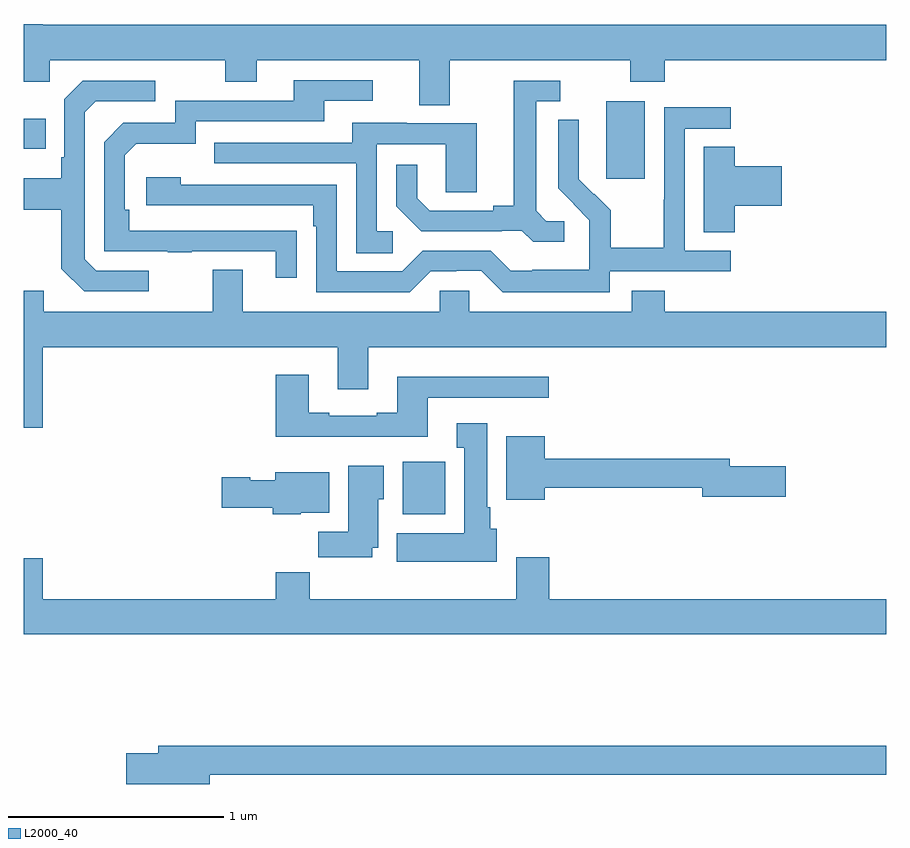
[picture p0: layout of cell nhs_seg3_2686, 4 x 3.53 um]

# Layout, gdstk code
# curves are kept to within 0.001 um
import gdstk
lib = gdstk.Library(unit=1e-6, precision=1e-09)
def R(c, l, rs):  # rectangles x0, y0, x1, y1
    for r in rs: c.add(gdstk.rectangle(r[:2], r[2:], *l))
def P(c, l, *ps):  # polygons
    for p in ps: c.add(gdstk.Polygon(p, *l))
L2000_40 = (2000, 40)

nhs_seg3_2686 = lib.new_cell('nhs_seg3_2686')
R(nhs_seg3_2686, L2000_40, [(250.757,716.126,250.954,716.368), (251.702,717.681,251.881,718.042), (249,717.821,249.101,717.961)])
P(nhs_seg3_2686, L2000_40, [(250.975,718.232),(251.812,718.232),(251.812,718.133),(251.972,718.133),(251.972,718.232),(253,718.232),(253,718.396),(249.088,718.396),(249.088,718.4),(249,718.4),(249,718.133),(249.12,718.133),(249.12,718.232),(249.934,718.232),(249.934,718.133),(250.081,718.133),(250.081,718.232),(250.835,718.232),(250.835,718.024),(250.975,718.024)],
  [(250.265,717.44),(249.488,717.441),(249.488,717.538),(249.468,717.538),(249.468,717.792),(249.521,717.845),(249.798,717.845),(249.798,717.948),(250.393,717.948),(250.393,718.044),(250.618,718.044),(250.618,718.14),(250.253,718.14),(250.253,718.044),(249.702,718.044),(249.702,717.942),(249.462,717.942),(249.372,717.852),(249.372,717.345),(249.667,717.345),(249.667,717.34),(249.779,717.34),(249.779,717.345),(250.169,717.345),(250.169,717.222),(250.265,717.222)],
  [(249.58,717.255),(249.336,717.255),(249.282,717.309),(249.282,717.99),(249.333,718.041),(249.61,718.041),(249.61,718.137),(249.273,718.137),(249.186,718.05),(249.186,717.781),(249.174,717.781),(249.174,717.685),(249,717.685),(249,717.538),(249.174,717.538),(249.174,717.265),(249.279,717.159),(249.58,717.159)],
  [(251.506,717.486),(251.424,717.486),(251.377,717.533),(251.377,718.041),(251.488,718.041),(251.488,718.137),(251.273,718.137),(251.273,717.557),(251.177,717.557),(251.177,717.534),(250.882,717.534),(250.825,717.591),(250.825,717.748),(250.728,717.748),(250.728,717.554),(250.844,717.438),(251.216,717.438),(251.216,717.441),(251.31,717.441),(251.362,717.389),(251.506,717.389)],
  [(251.718,717.252),(252.28,717.252),(252.28,717.348),(252.066,717.348),(252.066,717.915),(252.28,717.915),(252.28,718.014),(251.97,718.014),(251.97,717.584),(251.968,717.584),(251.968,717.361),(251.723,717.361),(251.723,717.535),(251.646,717.612),(251.643,717.609),(251.573,717.68),(251.574,717.956),(251.478,717.956),(251.478,717.638),(251.624,717.49),(251.624,717.393),(251.622,717.393),(251.622,717.259),(251.359,717.259),(251.359,717.255),(251.259,717.255),(251.166,717.348),(250.851,717.348),(250.755,717.252),(250.452,717.252),(250.452,717.654),(249.728,717.654),(249.728,717.688),(249.567,717.688),(249.567,717.558),(250.343,717.558),(250.343,717.461),(250.356,717.461),(250.356,717.156),(250.791,717.156),(250.887,717.252),(251.006,717.252),(251.006,717.255),(251.121,717.255),(251.221,717.155),(251.718,717.155)],
  [(250.711,717.438),(250.638,717.438),(250.638,717.843),(250.956,717.843),(250.956,717.619),(251.101,717.619),(251.101,717.939),(250.777,717.939),(250.777,717.943),(250.523,717.943),(250.523,717.849),(249.883,717.849),(249.883,717.753),(250.542,717.753),(250.542,717.337),(250.711,717.337)],
  [(252.299,717.557),(252.517,717.557),(252.517,717.74),(252.299,717.74),(252.299,717.83),(252.155,717.83),(252.155,717.433),(252.299,717.433)],
  [(249.088,716.9),(250.457,716.9),(250.457,716.706),(250.597,716.706),(250.597,716.9),(253,716.9),(253,717.064),(251.972,717.064),(251.972,717.163),(251.819,717.163),(251.819,717.064),(251.067,717.064),(251.067,717.162),(250.929,717.162),(250.929,717.064),(250.015,717.064),(250.015,717.259),(249.875,717.259),(249.875,717.064),(249.091,717.064),(249.091,717.163),(249,717.163),(249,716.526),(249.088,716.526)],
  [(250.873,716.667),(251.434,716.667),(251.434,716.764),(250.733,716.764),(250.733,716.596),(250.637,716.596),(250.637,716.583),(250.417,716.583),(250.417,716.596),(250.321,716.596),(250.321,716.773),(250.169,716.773),(250.169,716.486),(250.873,716.486)],
  [(251.194,716.058),(251.164,716.058),(251.164,716.158),(251.149,716.158),(251.149,716.548),(251.009,716.548),(251.009,716.435),(251.042,716.435),(251.042,716.038),(250.73,716.038),(250.73,715.904),(251.194,715.904)],
  [(251.416,716.248),(252.146,716.248),(252.146,716.206),(252.535,716.206),(252.535,716.348),(252.274,716.348),(252.274,716.384),(251.416,716.384),(251.416,716.488),(251.237,716.488),(251.237,716.192),(251.416,716.192)],
  [(250.615,715.97),(250.645,715.97),(250.645,716.196),(250.669,716.196),(250.669,716.35),(250.505,716.35),(250.505,716.044),(250.366,716.044),(250.366,715.926),(250.615,715.926)],
  [(250.284,716.132),(250.417,716.132),(250.417,716.32),(250.166,716.32),(250.166,716.284),(250.05,716.284),(250.05,716.297),(249.918,716.297),(249.918,716.155),(250.154,716.155),(250.154,716.126),(250.284,716.126)],
  [(251.285,715.927),(251.285,715.732),(250.325,715.732),(250.325,715.856),(250.169,715.856),(250.169,715.732),(249.088,715.732),(249.088,715.921),(249,715.921),(249,715.568),(253,715.568),(253,715.732),(251.438,715.732),(251.438,715.927)],
  [(249.862,714.916),(253,714.916),(253,715.052),(249.623,715.052),(249.623,715.016),(249.474,715.016),(249.474,714.874),(249.862,714.874)])

lib.write_gds('nhs_seg3_2686.gds')
